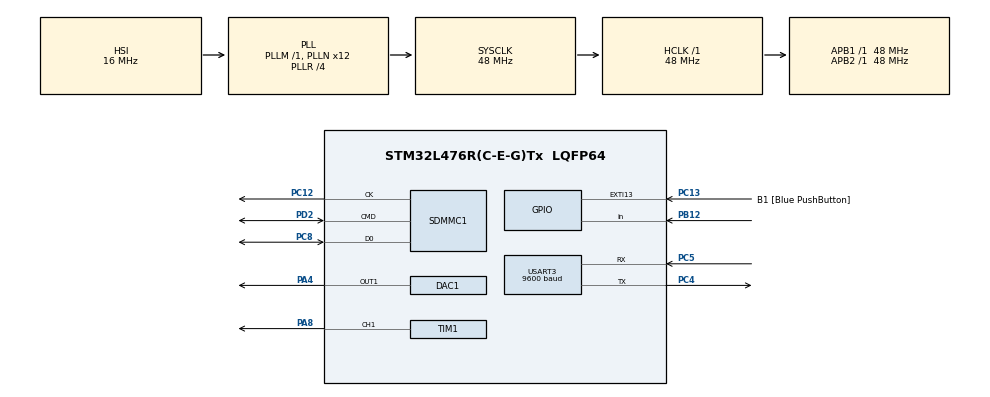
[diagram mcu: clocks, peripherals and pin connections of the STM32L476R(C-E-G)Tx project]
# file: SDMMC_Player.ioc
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DAC1.DAC_Trigger-DAC_OUT1=DAC_TRIGGER_NONE
FATFS.BSP.number=1
FATFS._MAX_SS=4096
FATFS._USE_LFN=3
FATFS0.BSP.STBoard=false
FATFS0.BSP.api=Unknown
FATFS0.BSP.instance=PB12
FATFS0.BSP.ip=GPIO
FATFS0.BSP.mode=Input
FATFS0.BSP.name=Detect_SDIO
FATFS0.BSP.solution=PB12
Mcu.Family=STM32L4
Mcu.Name=STM32L476R(C-E-G)Tx
Mcu.Package=LQFP64
NVIC.PriorityGroup=NVIC_PRIORITYGROUP_4
NVIC.TIM1_UP_TIM16_IRQn=true\:0\:0\:false\:false\:true\:true\:true\:true
NVIC.TIM6_DAC_IRQn=true\:0\:0\:false\:false\:true\:true\:true\:true
PA13\ (JTMS-SWDIO).GPIO_Label=TMS
PA13\ (JTMS-SWDIO).Signal=SYS_JTMS-SWDIO
PA14\ (JTCK-SWCLK).GPIO_Label=TCK
PA14\ (JTCK-SWCLK).Signal=SYS_JTCK-SWCLK
PA2.GPIO_Label=USART_TX
PA2.GPIO_Mode=GPIO_MODE_AF_PP
PA2.GPIO_PuPd=GPIO_NOPULL
PA2.GPIO_Speed=GPIO_SPEED_FREQ_VERY_HIGH
PA2.Signal=USART2_TX
PA3.GPIO_Label=USART_RX
PA3.GPIO_Mode=GPIO_MODE_AF_PP
PA3.GPIO_PuPd=GPIO_NOPULL
PA3.GPIO_Speed=GPIO_SPEED_FREQ_VERY_HIGH
PA3.Signal=USART2_RX
PA4.Signal=COMP_DAC11_group
PA8.Signal=S_TIM1_CH1
PB12.GPIO_PuPd=GPIO_PULLDOWN
PB12.Signal=GPIO_Input
PB3\ (JTDO-TRACESWO).GPIO_Label=SWO
PB3\ (JTDO-TRACESWO).Signal=SYS_JTDO-SWO
PC12.GPIO_PuPd=GPIO_PULLUP
PC12.Mode=SD_1_bit
PC12.Signal=SDMMC1_CK
PC13.GPIO_Label=B1 [Blue PushButton]
PC13.GPIO_ModeDefaultEXTI=GPIO_MODE_IT_FALLING
PC13.GPIO_PuPd=GPIO_NOPULL
PC13.Signal=GPXTI13
PC14-OSC32_IN\ (PC14).Signal=RCC_OSC32_IN
PC15-OSC32_OUT\ (PC15).Signal=RCC_OSC32_OUT
PC4.Mode=Asynchronous
PC4.Signal=USART3_TX
PC5.Mode=Asynchronous
PC5.Signal=USART3_RX
PC8.GPIO_PuPd=GPIO_PULLUP
PC8.Mode=SD_1_bit
PC8.Signal=SDMMC1_D0
PD2.GPIO_PuPd=GPIO_PULLUP
PD2.Mode=SD_1_bit
PD2.Signal=SDMMC1_CMD
PH0-OSC_IN\ (PH0).Signal=RCC_OSC_IN
PH1-OSC_OUT\ (PH1).Signal=RCC_OSC_OUT
ProjectManager.HeapSize=0x200
ProjectManager.StackSize=0x400
ProjectManager.TargetToolchain=STM32CubeIDE
RCC.ADCFreq_Value=64000000
RCC.AHBFreq_Value=48000000
RCC.APB1Freq_Value=48000000
RCC.APB1TimFreq_Value=48000000
RCC.APB2Freq_Value=48000000
RCC.APB2TimFreq_Value=48000000
RCC.CK48CLockSelection=RCC_USBCLKSOURCE_PLL
RCC.CortexFreq_Value=48000000
RCC.HCLKFreq_Value=48000000
RCC.HSE_VALUE=8000000
RCC.HSI_VALUE=16000000
RCC.LSE_VALUE=32768
RCC.MSI_VALUE=4000000
RCC.PLLN=12
RCC.PLLQ=RCC_PLLQ_DIV4
RCC.PLLR=RCC_PLLR_DIV4
RCC.PLLSourceVirtual=RCC_PLLSOURCE_HSI
RCC.PREFETCH_ENABLE=1
RCC.SYSCLKFreq_VALUE=48000000
RCC.SYSCLKSource=RCC_SYSCLKSOURCE_PLLCLK
RCC.USBFreq_Value=48000000
RCC.VCOOutputFreq_Value=192000000
SDMMC1.ClockDiv=2
SH.COMP_DAC11_group.0=DAC1_OUT1,DAC_OUT1
SH.S_TIM1_CH1.0=TIM1_CH1,Output Compare1 CH1
TIM1.Channel-Output\ Compare1\ CH1=TIM_CHANNEL_1
TIM1.Period=32
TIM1.Prescaler=32
USART3.BaudRate=9600
USART3.VirtualMode-Asynchronous=VM_ASYNC
VP_FATFS_VS_SDIO.Mode=SDIO
VP_TIM1_VS_ClockSourceINT.Mode=Internal
board=NUCLEO-L476RG

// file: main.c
/* USER CODE BEGIN Header */
/**
  ******************************************************************************
  * @file           : main.c
  * @brief          : Main program body
  ******************************************************************************
  * @attention
  *
  * Copyright (c) 2025 STMicroelectronics.
  * All rights reserved.
  *
  * This software is licensed under terms that can be found in the LICENSE file
  * in the root directory of this software component.
  * If no LICENSE file comes with this software, it is provided AS-IS.
  *
  ******************************************************************************
  */
/* USER CODE END Header */
#include "main.h"
#include "fatfs.h"

/* USER CODE BEGIN Includes */
#include <stdio.h>
#include <string.h>
#include <stdint.h>
#include "sine_table.h"

/* USER CODE END Includes */

DAC_HandleTypeDef hdac1;

SD_HandleTypeDef hsd1;

TIM_HandleTypeDef htim1;

UART_HandleTypeDef huart3;

/* USER CODE BEGIN PV */
int16_t size = 2048; // size of buffer;
int16_t buffer_A[2048];
int16_t buffer_B[2048];
int timer6flag = 0;
/* USER CODE END PV */

void SystemClock_Config(void);
static void MX_GPIO_Init(void);
static void MX_SDMMC1_SD_Init(void);
static void MX_USART3_UART_Init(void);
static void MX_DAC1_Init(void);
static void MX_TIM1_Init(void);

/* USER CODE BEGIN 0 */
// find data chunk offset
uint32_t getfreq(FIL* file){
	UINT count0;
	uint32_t freq[1];
	f_lseek(file, 24);
	f_read(file, freq, 4, &count0);
	return freq[0];
}

uint32_t find_data_offset(FIL *file) {
    uint8_t buffer[12];
    UINT bytes_read;
    uint32_t offset = 12;

    while (1) {
        f_lseek(file, offset);
        f_read(file, buffer, 8, &bytes_read);
        uint32_t chunk_size = *(uint32_t*)&buffer[4];

        if (memcmp(buffer, "data", 4) == 0) {
            return offset + 8;
        } else {
            offset += 8 + chunk_size;
        }
    }
}
/*
void playwav(FIL* fp,FRESULT res,uint8_t index){
	UINT count;
	char filename[32];

	//sprintf(filename, "tone.wav", index);
	res = f_open(fp, "testClash.wav", FA_READ);
  	   if(res == FR_OK){
  		   uint32_t freq = getfreq(fp);
  		   f_lseek(fp, 4096*6);
  		   //UINT offset;
  		   //offset = find_data_offset(fp);
  		   //f_lseek(fp, offset);// jump to the end of header  // replaced by auto omit first 4096 bytes
  		   HAL_TIM_Base_Start_IT(&htim1);
  		   HAL_DAC_Start(&hdac1, DAC_CHANNEL_1);
  		   f_read(fp, buffer_A, 4096, &count);
  		   for(int buff_index = 0; buff_index<100;buff_index++){
           f_read(fp, buffer_B, 4096, &count);
           int j = 0;
           while(1){
           	   if(timer6flag && j<size){
           			   uint16_t dac_val = (uint16_t)((buffer_A[j] + 32768) >> 4); // Convert 16-bit PCM to 12-bit unsigned
           			   HAL_DAC_SetValue(&hdac1, DAC_CHANNEL_1, DAC_ALIGN_12B_R, dac_val);
           			   timer6flag = 0;
           			   ++j;
           	   }
           	   else if(j>=size){
           		   bufferflag = 1;
           		   break;
           	  }
          }
  		  }
          f_close(fp);
  	  }
}
*/

uint32_t getsize(FIL* file){
	UINT count0;
	uint32_t size[1];
	f_lseek(file, 4);
	f_read(file, size, 4, &count0);
	return size[0];
}

void playwav(FIL* fp, FRESULT res, uint8_t index) {
    UINT count;
    char filename[32];
    res = f_open(fp, "testClash.wav", FA_READ);
    //testClash.wav

    if(res == FR_OK) {
        uint32_t filesize = getsize(fp);
        f_lseek(fp, 4096); // 跳过WAV文件头

        HAL_DAC_Start(&hdac1, DAC_CHANNEL_1);

        // 初始填充两个缓冲区
        f_read(fp, buffer_A, size*2, &count); // 读取第一个缓冲区的数据
        f_read(fp, buffer_B, size*2, &count); // 读取第二个缓冲区的数据

        int j = 0;
        uint8_t current_buffer = 0; // 0表示buffer_A, 1表示buffer_B

        HAL_TIM_Base_Start_IT(&htim1);

        while(1) {
            if(timer6flag) {
                if(j >= size) {
                    // 当前缓冲区播放完毕，切换到另一个缓冲区
                    if(current_buffer == 0) {
                        // 异步读取下一块数据到buffer_A
                        if(f_eof(fp) == 0) {
                            f_read(fp, buffer_A, size*2, &count);
                        }
                        current_buffer = 1;
                    } else {
                        // 异步读取下一块数据到buffer_B
                        if(f_eof(fp) == 0) {
                            f_read(fp, buffer_B, size*2, &count);
                        }
                        current_buffer = 0;
                    }
                    j = 0;

                    // 检查是否到达文件末尾
                    if(f_eof(fp) && j >= size) {
                        break;
                    }
                }

                // 播放当前样本
                uint16_t dac_val;
                if(current_buffer == 0) {
                    dac_val = (uint16_t)((buffer_A[j] + 32768) >> 4);
                } else {
                    dac_val = (uint16_t)((buffer_B[j] + 32768) >> 4);
                }

                HAL_DAC_SetValue(&hdac1, DAC_CHANNEL_1, DAC_ALIGN_12B_R, dac_val);
                j++;
                timer6flag = 0;
            }
        }
    }
    f_close(fp);
}

void play_sine_table(void) {
    HAL_TIM_Base_Start_IT(&htim1);
    HAL_DAC_Start(&hdac1, DAC_CHANNEL_1);
    while(1){
    for (uint32_t i = 0; i < SINE_TABLE_SIZE; ++i) {
        while (!timer6flag);  // Wait for timer flag
        HAL_DAC_SetValue(&hdac1, DAC_CHANNEL_1, DAC_ALIGN_12B_R, sine_table[i]);
        timer6flag = 0;
    }
    }

    HAL_DAC_Stop(&hdac1, DAC_CHANNEL_1);
    HAL_TIM_Base_Stop_IT(&htim1);
}

/* USER CODE END 0 */

int main(void)
{

  /* MCU Configuration--------------------------------------------------------*/

  /* Reset of all peripherals, Initializes the Flash interface and the Systick. */
  HAL_Init();

  /* Configure the system clock */
  SystemClock_Config();

  /* Initialize all configured peripherals */
  MX_GPIO_Init();
  MX_SDMMC1_SD_Init();
  MX_FATFS_Init();
  MX_USART3_UART_Init();
  MX_DAC1_Init();
  MX_TIM1_Init();
  /* USER CODE BEGIN 2 */

  //HAL_DAC_Start(&hdac1, DAC_CHANNEL_1);
  //HAL_DAC_SetValue(&hdac1, DAC_CHANNEL_1, DAC_ALIGN_12B_R, 2000);
  //HAL_Delay(5);

  uint8_t rxData[3]; // 4 bytes of data received from master board
  uint8_t volume;
  uint8_t bpm;
  uint8_t state = 1;
  FATFS FatFs;
  FIL Fil;
  FRESULT res;
  int8_t index;
  index = 3;

  res = f_mount(&FatFs, SDPath, 1);
  if(res == FR_OK){
	  playwav(&Fil , res , index); // play wav file with No. index
  }
  res = f_mount(NULL, "", 0);

  //play_sine_table();
  /* USER CODE END 2 */

  /* Infinite loop */
  while (1)
  {

  }
}

void SystemClock_Config(void)
{
  RCC_OscInitTypeDef RCC_OscInitStruct = {0};
  RCC_ClkInitTypeDef RCC_ClkInitStruct = {0};

  /** Configure the main internal regulator output voltage
  */
  if (HAL_PWREx_ControlVoltageScaling(PWR_REGULATOR_VOLTAGE_SCALE1) != HAL_OK)
  {
    Error_Handler();
  }

  /** Initializes the RCC Oscillators according to the specified parameters
  * in the RCC_OscInitTypeDef structure.
  */
  RCC_OscInitStruct.OscillatorType = RCC_OSCILLATORTYPE_HSI;
  RCC_OscInitStruct.HSIState = RCC_HSI_ON;
  RCC_OscInitStruct.HSICalibrationValue = RCC_HSICALIBRATION_DEFAULT;
  RCC_OscInitStruct.PLL.PLLState = RCC_PLL_ON;
  RCC_OscInitStruct.PLL.PLLSource = RCC_PLLSOURCE_HSI;
  RCC_OscInitStruct.PLL.PLLM = 1;
  RCC_OscInitStruct.PLL.PLLN = 12;
  RCC_OscInitStruct.PLL.PLLP = RCC_PLLP_DIV7;
  RCC_OscInitStruct.PLL.PLLQ = RCC_PLLQ_DIV4;
  RCC_OscInitStruct.PLL.PLLR = RCC_PLLR_DIV4;
  if (HAL_RCC_OscConfig(&RCC_OscInitStruct) != HAL_OK)
  {
    Error_Handler();
  }

  /** Initializes the CPU, AHB and APB buses clocks
  */
  RCC_ClkInitStruct.ClockType = RCC_CLOCKTYPE_HCLK|RCC_CLOCKTYPE_SYSCLK
                              |RCC_CLOCKTYPE_PCLK1|RCC_CLOCKTYPE_PCLK2;
  RCC_ClkInitStruct.SYSCLKSource = RCC_SYSCLKSOURCE_PLLCLK;
  RCC_ClkInitStruct.AHBCLKDivider = RCC_SYSCLK_DIV1;
  RCC_ClkInitStruct.APB1CLKDivider = RCC_HCLK_DIV1;
  RCC_ClkInitStruct.APB2CLKDivider = RCC_HCLK_DIV1;

  if (HAL_RCC_ClockConfig(&RCC_ClkInitStruct, FLASH_LATENCY_2) != HAL_OK)
  {
    Error_Handler();
  }
}

static void MX_DAC1_Init(void)
{

  DAC_ChannelConfTypeDef sConfig = {0};

  /** DAC Initialization
  */
  hdac1.Instance = DAC1;
  if (HAL_DAC_Init(&hdac1) != HAL_OK)
  {
    Error_Handler();
  }

  /** DAC channel OUT1 config
  */
  sConfig.DAC_SampleAndHold = DAC_SAMPLEANDHOLD_DISABLE;
  sConfig.DAC_Trigger = DAC_TRIGGER_NONE;
  sConfig.DAC_OutputBuffer = DAC_OUTPUTBUFFER_ENABLE;
  sConfig.DAC_ConnectOnChipPeripheral = DAC_CHIPCONNECT_DISABLE;
  sConfig.DAC_UserTrimming = DAC_TRIMMING_FACTORY;
  if (HAL_DAC_ConfigChannel(&hdac1, &sConfig, DAC_CHANNEL_1) != HAL_OK)
  {
    Error_Handler();
  }

}

static void MX_SDMMC1_SD_Init(void)
{

  hsd1.Instance = SDMMC1;
  hsd1.Init.ClockEdge = SDMMC_CLOCK_EDGE_RISING;
  hsd1.Init.ClockBypass = SDMMC_CLOCK_BYPASS_DISABLE;
  hsd1.Init.ClockPowerSave = SDMMC_CLOCK_POWER_SAVE_DISABLE;
  hsd1.Init.BusWide = SDMMC_BUS_WIDE_1B;
  hsd1.Init.HardwareFlowControl = SDMMC_HARDWARE_FLOW_CONTROL_DISABLE;
  hsd1.Init.ClockDiv = 2;

}

static void MX_TIM1_Init(void)
{

  TIM_ClockConfigTypeDef sClockSourceConfig = {0};
  TIM_MasterConfigTypeDef sMasterConfig = {0};
  TIM_OC_InitTypeDef sConfigOC = {0};
  TIM_BreakDeadTimeConfigTypeDef sBreakDeadTimeConfig = {0};

  htim1.Instance = TIM1;
  htim1.Init.Prescaler = 32;
  htim1.Init.CounterMode = TIM_COUNTERMODE_UP;
  htim1.Init.Period = 32;
  htim1.Init.ClockDivision = TIM_CLOCKDIVISION_DIV1;
  htim1.Init.RepetitionCounter = 0;
  htim1.Init.AutoReloadPreload = TIM_AUTORELOAD_PRELOAD_DISABLE;
  if (HAL_TIM_Base_Init(&htim1) != HAL_OK)
  {
    Error_Handler();
  }
  sClockSourceConfig.ClockSource = TIM_CLOCKSOURCE_INTERNAL;
  if (HAL_TIM_ConfigClockSource(&htim1, &sClockSourceConfig) != HAL_OK)
  {
    Error_Handler();
  }
  if (HAL_TIM_OC_Init(&htim1) != HAL_OK)
  {
    Error_Handler();
  }
  sMasterConfig.MasterOutputTrigger = TIM_TRGO_RESET;
  sMasterConfig.MasterOutputTrigger2 = TIM_TRGO2_RESET;
  sMasterConfig.MasterSlaveMode = TIM_MASTERSLAVEMODE_DISABLE;
  if (HAL_TIMEx_MasterConfigSynchronization(&htim1, &sMasterConfig) != HAL_OK)
  {
    Error_Handler();
  }
  sConfigOC.OCMode = TIM_OCMODE_TIMING;
  sConfigOC.Pulse = 0;
  sConfigOC.OCPolarity = TIM_OCPOLARITY_HIGH;
  sConfigOC.OCNPolarity = TIM_OCNPOLARITY_HIGH;
  sConfigOC.OCFastMode = TIM_OCFAST_DISABLE;
  sConfigOC.OCIdleState = TIM_OCIDLESTATE_RESET;
  sConfigOC.OCNIdleState = TIM_OCNIDLESTATE_RESET;
  if (HAL_TIM_OC_ConfigChannel(&htim1, &sConfigOC, TIM_CHANNEL_1) != HAL_OK)
  {
    Error_Handler();
  }
  sBreakDeadTimeConfig.OffStateRunMode = TIM_OSSR_DISABLE;
  sBreakDeadTimeConfig.OffStateIDLEMode = TIM_OSSI_DISABLE;
  sBreakDeadTimeConfig.LockLevel = TIM_LOCKLEVEL_OFF;
  sBreakDeadTimeConfig.DeadTime = 0;
  sBreakDeadTimeConfig.BreakState = TIM_BREAK_DISABLE;
  sBreakDeadTimeConfig.BreakPolarity = TIM_BREAKPOLARITY_HIGH;
  sBreakDeadTimeConfig.BreakFilter = 0;
  sBreakDeadTimeConfig.Break2State = TIM_BREAK2_DISABLE;
  sBreakDeadTimeConfig.Break2Polarity = TIM_BREAK2POLARITY_HIGH;
  sBreakDeadTimeConfig.Break2Filter = 0;
  sBreakDeadTimeConfig.AutomaticOutput = TIM_AUTOMATICOUTPUT_DISABLE;
  if (HAL_TIMEx_ConfigBreakDeadTime(&htim1, &sBreakDeadTimeConfig) != HAL_OK)
  {
    Error_Handler();
  }
  HAL_TIM_MspPostInit(&htim1);

}

static void MX_USART3_UART_Init(void)
{

  huart3.Instance = USART3;
  huart3.Init.BaudRate = 9600;
  huart3.Init.WordLength = UART_WORDLENGTH_8B;
  huart3.Init.StopBits = UART_STOPBITS_1;
  huart3.Init.Parity = UART_PARITY_NONE;
  huart3.Init.Mode = UART_MODE_TX_RX;
  huart3.Init.HwFlowCtl = UART_HWCONTROL_NONE;
  huart3.Init.OverSampling = UART_OVERSAMPLING_16;
  huart3.Init.OneBitSampling = UART_ONE_BIT_SAMPLE_DISABLE;
  huart3.AdvancedInit.AdvFeatureInit = UART_ADVFEATURE_NO_INIT;
  if (HAL_UART_Init(&huart3) != HAL_OK)
  {
    Error_Handler();
  }

}

static void MX_GPIO_Init(void)
{
  GPIO_InitTypeDef GPIO_InitStruct = {0};

  /* GPIO Ports Clock Enable */
  __HAL_RCC_GPIOC_CLK_ENABLE();
  __HAL_RCC_GPIOH_CLK_ENABLE();
  __HAL_RCC_GPIOA_CLK_ENABLE();
  __HAL_RCC_GPIOB_CLK_ENABLE();
  __HAL_RCC_GPIOD_CLK_ENABLE();

  /*Configure GPIO pin : B1_Pin */
  GPIO_InitStruct.Pin = B1_Pin;
  GPIO_InitStruct.Mode = GPIO_MODE_IT_FALLING;
  GPIO_InitStruct.Pull = GPIO_NOPULL;
  HAL_GPIO_Init(B1_GPIO_Port, &GPIO_InitStruct);

  /*Configure GPIO pins : USART_TX_Pin USART_RX_Pin */
  GPIO_InitStruct.Pin = USART_TX_Pin|USART_RX_Pin;
  GPIO_InitStruct.Mode = GPIO_MODE_AF_PP;
  GPIO_InitStruct.Pull = GPIO_NOPULL;
  GPIO_InitStruct.Speed = GPIO_SPEED_FREQ_VERY_HIGH;
  GPIO_InitStruct.Alternate = GPIO_AF7_USART2;
  HAL_GPIO_Init(GPIOA, &GPIO_InitStruct);

  /*Configure GPIO pin : PB12 */
  GPIO_InitStruct.Pin = GPIO_PIN_12;
  GPIO_InitStruct.Mode = GPIO_MODE_INPUT;
  GPIO_InitStruct.Pull = GPIO_PULLDOWN;
  HAL_GPIO_Init(GPIOB, &GPIO_InitStruct);

}

void Error_Handler(void)
{
  __disable_irq();
  while (1){}
}
